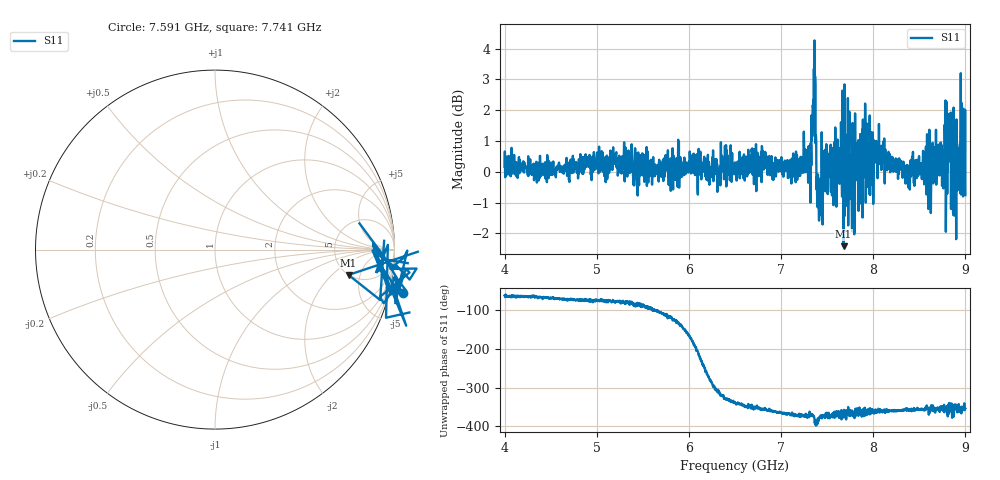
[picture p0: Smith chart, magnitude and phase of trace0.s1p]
! Created with skrf 1.8.0 (http://scikit-rf.org).
# Hz S RI R 50.0
!freq ReS11 ImS11
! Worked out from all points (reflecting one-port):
!   1601 points, 4 GHz to 9 GHz, reference 50 ohm
!   lowest |S11| = -2.4 dB at 7.678 GHz (marker M1), VSWR 7.24, Z = 250 - j165 ohm
!   phase of S11 starts at -61 deg and turns -292 deg over the sweep
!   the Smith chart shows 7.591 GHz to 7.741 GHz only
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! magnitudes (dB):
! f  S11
! 4 GHz  0.2
! 4.625 GHz  0.0
! 5.25 GHz  0.0
! 5.875 GHz  0.3
! 6.5 GHz  0.3
! 6.806 GHz  0.3
! 7.125 GHz  0.2
! 7.294 GHz  -0.4
! 7.316 GHz  0.1
! 7.356 GHz  3.3
! 7.412 GHz  -1.6
! 7.478 GHz  0.7
! 7.619 GHz  0.5
! 7.65 GHz  1.6
! 7.678 GHz  -2.4
! 7.703 GHz  -1.1
! 7.75 GHz  -0.9
! 7.775 GHz  1.6
! 7.8 GHz  -1.9
! 7.891 GHz  -0.2
! 7.944 GHz  0.4
! 8.097 GHz  0.3
! 8.375 GHz  -0.1
! 8.766 GHz  0.6
! 8.816 GHz  0.3
! 8.875 GHz  0.6
! 8.972 GHz  0.4
! 9 GHz  -0.8
